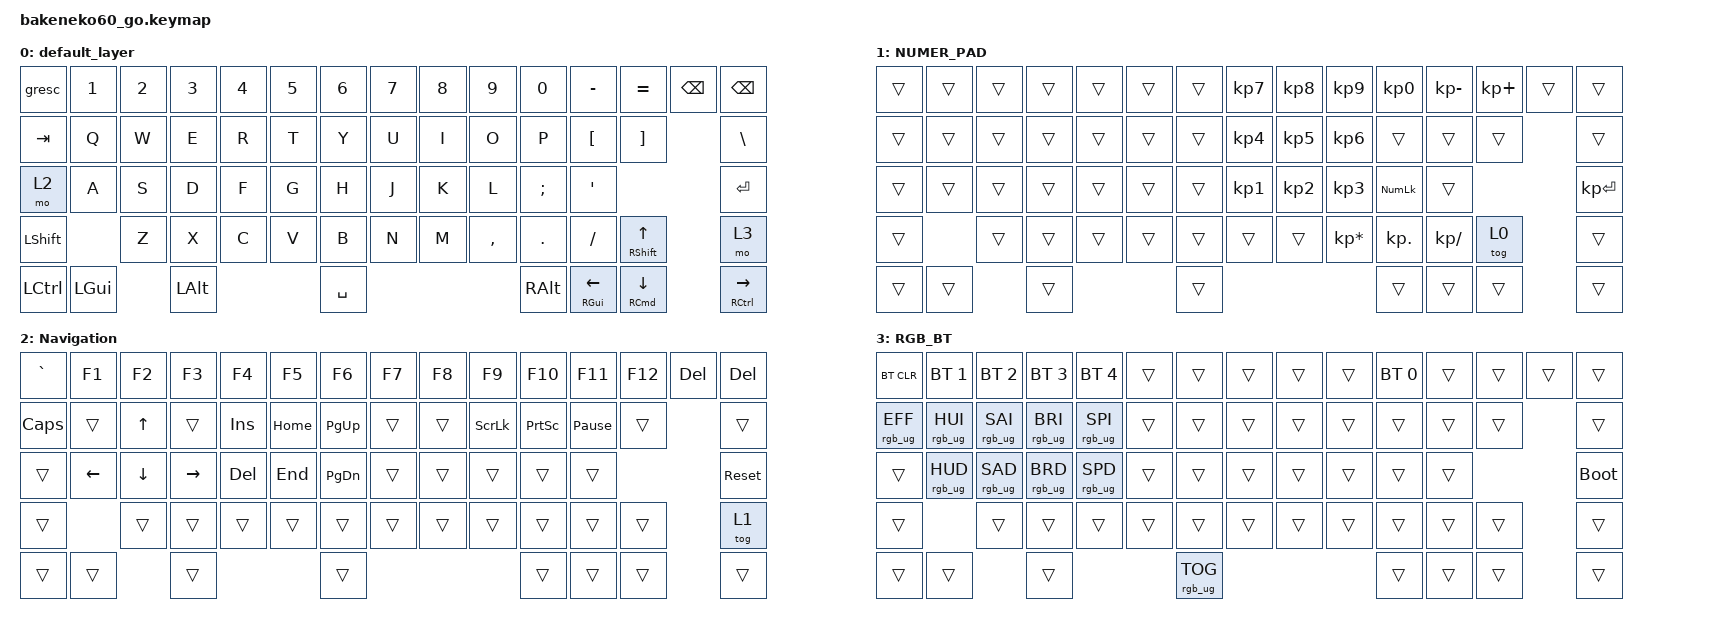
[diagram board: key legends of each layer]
/*
 * Copyright (c) 2023 Andrew Kannan
 *
 * SPDX-License-Identifier: MIT
 */

#include <behaviors.dtsi>
#include <dt-bindings/zmk/bt.h>
#include <dt-bindings/zmk/keys.h>
#include <dt-bindings/zmk/rgb.h>

/ {
    keymap {
        compatible = "zmk,keymap";

        default_layer {
            // ------------------------------------------------------------------------------------------
            // | ESC |  1  |  2  |  3  |  4  |  5  |  6  |  7  |  8  |  9  |  0  |  -  |  =  | BKSP|BKSP|
            // | TAB  |  Q  |  W  |  E  |  R  |  T  |  Y  |  U  |  I  |  O  |  P  |  [  |  ]  |   "|"   |
            // | CAPS  |  A  |  S  |  D  |  F  |  G  |  H  |  J  |  K  |  L  |  ;  |  '  |     ENTER    |
            // |  SHIFT  |  Z  |  X  |  C  |  V  |  B  |  N  |  M  |  ,  |  .  |  /  |  SHIFT  | MO(1)  |
            // |  CTL  |  WIN  |  ALT  |            SPACE              |  ALT  |  WIN  |  MO(1) |  CTL  |
            // ------------------------------------------------------------------------------------------

            bindings = <
&gresc     &kp N1    &kp N2  &kp N3    &kp N4  &kp N5  &kp N6     &kp N7  &kp N8  &kp N9     &kp N0    &kp MINUS            &kp EQUAL                     &kp BSPC  &kp BSPC
&kp TAB    &kp Q     &kp W   &kp E     &kp R   &kp T   &kp Y      &kp U   &kp I   &kp O      &kp P     &kp LBKT             &kp RBKT                                &kp BSLH
&mo 2      &kp A     &kp S   &kp D     &kp F   &kp G   &kp H      &kp J   &kp K   &kp L      &kp SEMI  &kp SQT                                                      &kp RET
&kp LSHFT            &kp Z   &kp X     &kp C   &kp V   &kp B      &kp N   &kp M   &kp COMMA  &kp DOT   &kp FSLH             &mt RSHFT UP_ARROW                      &mo 3
&kp LCTRL  &kp LGUI          &kp LALT                  &kp SPACE                             &kp RALT  &mt RGUI LEFT_ARROW  &mt RIGHT_COMMAND DOWN_ARROW            &mt RCTRL RIGHT_ARROW
            >;
        };

        NUMER_PAD {
            // ------------------------------------------------------------------------------------------------
            // |    `   | F1  | F2  | F3  | F4  | F5  | F6  | F7  | F8  | F9  | F10  | F11 | F12 |     | DEL  |
            // | EFCT REV|   |  UP |   | HUEUP | SATUP | BRIUP | SPDUP |      |  PGUP |    |     |    |       |
            // | EFCT FWD | LT |  DN  | RT | HUEDN | SATDN | BRIDN | SPDDN | HOME | PGDN | END  |  | BOOTLDR  |
            // |             |     |      |      |     |     |     |     |     |     |     |         |        |
            // |         |      |      |             TOG RGB                | PRT SCR |       |       |  MO(2)|
            // ------------------------------------------------------------------------------------------------

            bindings = <
&trans  &trans  &trans  &trans  &trans  &trans  &trans  &kp KP_NUMBER_7  &kp KP_NUMBER_8  &kp KP_NUMBER_9  &kp KP_NUMBER_0  &kp KP_SUBTRACT  &kp KP_PLUS  &trans  &trans
&trans  &trans  &trans  &trans  &trans  &trans  &trans  &kp KP_NUMBER_4  &kp KP_N5        &kp KP_NUMBER_6  &trans           &trans           &trans               &trans
&trans  &trans  &trans  &trans  &trans  &trans  &trans  &kp KP_NUMBER_1  &kp KP_NUMBER_2  &kp KP_NUMBER_3  &kp KP_NUMLOCK   &trans                                &kp KP_ENTER
&trans          &trans  &trans  &trans  &trans  &trans  &trans           &trans           &kp KP_MULTIPLY  &kp KP_DOT       &kp KP_DIVIDE    &tog 0               &trans
&trans  &trans          &trans                  &trans                                                     &trans           &trans           &trans               &trans
            >;
        };

        Navigation {
            // ------------------------------------------------------------------------------------------------
            // | BT CLR |     |     |     |     |     |     |     |     |     |     |    |    |       |       |
            // |  BT 1   |   |     |   |       |       |       |       |   |     |    |     |     |           |
            // |   BT 2   |    |      |    |       |       |       |       |      |      |      |  |   Reset  |
            // |    BT 3     |     |      |      |     |     |     |     |     |     |     |         |        |
            // |   BT 4  |      |      |                                    |         |       |       |       |
            // ------------------------------------------------------------------------------------------------

            bindings = <
&kp GRAVE     &kp F1          &kp F2          &kp F3           &kp F4      &kp F5    &kp F6         &kp F7  &kp F8  &kp F9          &kp F10          &kp F11          &kp F12  &kp DELETE  &kp DELETE
&kp CAPSLOCK  &trans          &kp UP_ARROW    &trans           &kp INSERT  &kp HOME  &kp PAGE_UP    &trans  &trans  &kp SCROLLLOCK  &kp PRINTSCREEN  &kp PAUSE_BREAK  &trans               &trans
&trans        &kp LEFT_ARROW  &kp DOWN_ARROW  &kp RIGHT_ARROW  &kp DELETE  &kp END   &kp PAGE_DOWN  &trans  &trans  &trans          &trans           &trans                                &sys_reset
&trans                        &trans          &trans           &trans      &trans    &trans         &trans  &trans  &trans          &trans           &trans           &trans               &tog 1
&trans        &trans                          &trans                                 &trans                                         &trans           &trans           &trans               &trans
            >;
        };

        RGB_BT {
            bindings = <
&bt BT_CLR       &bt BT_SEL 1     &bt BT_SEL 2     &bt BT_SEL 3     &bt BT_SEL 4     &trans  &trans           &trans  &trans  &trans  &bt BT_SEL 0  &trans  &trans  &trans  &trans
&rgb_ug RGB_EFF  &rgb_ug RGB_HUI  &rgb_ug RGB_SAI  &rgb_ug RGB_BRI  &rgb_ug RGB_SPI  &trans  &trans           &trans  &trans  &trans  &trans        &trans  &trans          &trans
&trans           &rgb_ug RGB_HUD  &rgb_ug RGB_SAD  &rgb_ug RGB_BRD  &rgb_ug RGB_SPD  &trans  &trans           &trans  &trans  &trans  &trans        &trans                  &bootloader
&trans                            &trans           &trans           &trans           &trans  &trans           &trans  &trans  &trans  &trans        &trans  &trans          &trans
&trans           &trans                            &trans                                    &rgb_ug RGB_TOG                          &trans        &trans  &trans          &trans
            >;
        };
    };

    combos {
        compatible = "zmk,combos";

        combo_bt {
            timeout-ms = <50>;
            key-positions = <61 62>;
            bindings = <&mo 2>;
        };
    };
};
